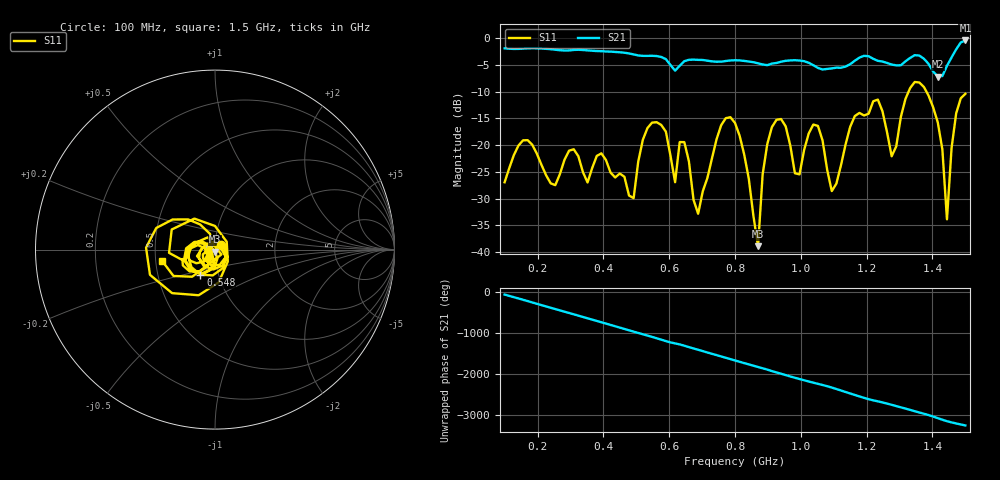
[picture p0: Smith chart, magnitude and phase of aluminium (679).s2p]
! NanoVNA-App
! Date: 2025-09-25 15:00:34
! Start: 100MHz Stop: 1,5GHz Points: 101
! S-Parameter data: F S11 S21 S12 S22
# Hz S RI R 50
!  Frequency  S11_Real  S11_Imag  S21_Real  S21_Imag  S12_Real  S12_Imag  S22_Real  S22_Imag
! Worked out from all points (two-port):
!   101 points, 100 MHz to 1.5 GHz, reference 50 ohm
!   highest |S21| = -0.45 dB at 1.5 GHz (marker M1); lowest = -7.2 dB at 1.416 GHz (marker M2)
!   |S21| within 3 dB of the highest: start of sweep to 568.7 MHz; 1.46 GHz to end of sweep (the widest 2 of 4)
!   lowest |S11| = -38.9 dB at 870 MHz (marker M3), VSWR 1.02, Z = 50.1 - j1.13 ohm
!   |S11| at or under -10 dB: start of sweep to 1.328 GHz; 1.381 GHz to end of sweep
!   S12 and S22 are empty: the file has one direction only
!   S11 on the Smith chart (normalised r, x): 100 MHz: 1.07, +0.06; 548 MHz: 0.82, -0.24; 1.5 GHz: 0.54, -0.08
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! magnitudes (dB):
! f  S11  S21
! 100 MHz  -27.0  -1.9
! 156 MHz  -19.1  -2.0
! 338 MHz  -25.1  -2.2
! 492 MHz  -29.9  -3.1
! 548 MHz  -15.8  -3.3
! 576 MHz  -16.2  -3.5
! 618 MHz  -26.9  -6.1
! 646 MHz  -19.5  -4.3
! 688 MHz  -32.8  -4.1
! 800 MHz  -15.9  -4.1
! 870 MHz  -38.9  -4.7
! 912 MHz  -16.7  -4.8
! 996 MHz  -25.5  -4.2
! 1.038 GHz  -16.2  -5.1
! 1.094 GHz  -28.6  -5.7
! 1.22 GHz  -11.8  -3.9
! 1.276 GHz  -22.1  -4.9
! 1.346 GHz  -8.2  -3.2
! 1.416 GHz  -15.7  -7.2
! 1.444 GHz  -33.9  -5.2
! 1.472 GHz  -14.1  -2.1
! 1.5 GHz  -10.4  -0.4
